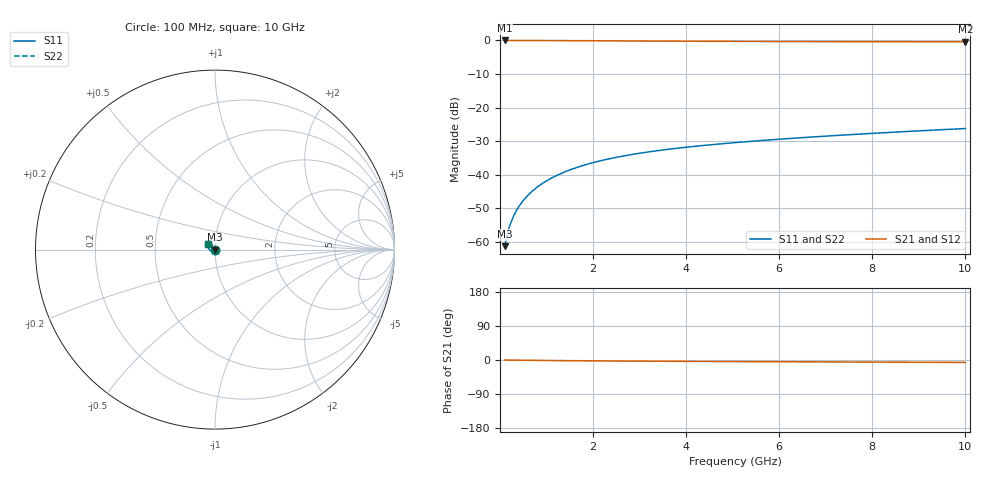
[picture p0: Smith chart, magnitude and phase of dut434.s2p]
! Touchstone file exported from HFSS 2024.1.0
!  File:  C:/UserFiles/LocalFiles/RDL_TSV_Batchsim/temp_TSV1_434_1779694571.aedt
!  Generated:  03:43:27 PM May 25, 2026
!  Design:  TSV1
!  Project:  temp_TSV1_434_1779694571
!  Setup:  Setup1
!  Solution:  Sweep
! Variables:
!  dtsv = 6.81um
!  hbump = 3um
!  htsv = 95.97um
!  lrdl = 252.1521522um
!  p = 40
!  p1 = 56.95um
!  t = 500um
!  trdl = 3um
!  wrdl = 24.89489489um
# GHz S MA R 50.000000
! Terminal data exported
! Port[1] = TSV22_T1
! Port[2] = TSV22_T2
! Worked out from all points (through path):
!   100 points, 100 MHz to 10 GHz, reference 50 ohm
!   highest |S21| = 0.00 dB at 100 MHz (marker M1); lowest = -0.4 dB at 10 GHz (marker M2)
!   lowest |S11| = -61.3 dB at 100 MHz (marker M3), VSWR 1.00, Z = 50 - j0.0833 ohm
!   |S11| at or under -10 dB: start of sweep to end of sweep
!   |S22| runs from -61.3 to -26.3 dB; largest |S21 - S12| = 1.1e-14
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0.1  0.0008579 -76.0  0.9995 -0.1  0.9995 -0.1  0.0008579 -76.0
! Gamma 0 0 0 0
! Port Impedance 50 0 50 0
0.2  0.001668 -86.3  0.9994 -0.3  0.9994 -0.3  0.001668 -86.3
0.3  0.002485 -91.4  0.9992 -0.4  0.9992 -0.4  0.002485 -91.4
0.4  0.003301 -95.1  0.999 -0.5  0.999 -0.5  0.003301 -95.1
0.5  0.004112 -98.2  0.9987 -0.6  0.9987 -0.6  0.004113 -98.2
0.6  0.004918 -101.1  0.9983 -0.8  0.9983 -0.8  0.004918 -101.1
0.7  0.005717 -103.7  0.9979 -0.9  0.9979 -0.9  0.005717 -103.7
0.8  0.006507 -106.3  0.9974 -1.0  0.9974 -1.0  0.006507 -106.3
0.9  0.007287 -108.8  0.9969 -1.1  0.9969 -1.1  0.007287 -108.8
1.1  0.008817 -113.5  0.9957 -1.4  0.9957 -1.4  0.008817 -113.5
1.4  0.01102 -120.3  0.9936 -1.7  0.9936 -1.7  0.01102 -120.3
1.6  0.01243 -124.6  0.9921 -1.9  0.9921 -1.9  0.01243 -124.6
1.8  0.01378 -128.7  0.9905 -2.1  0.9905 -2.1  0.01378 -128.7
2.1  0.0157 -134.7  0.9881 -2.3  0.9881 -2.3  0.0157 -134.7
2.5  0.01809 -142.2  0.9847 -2.7  0.9847 -2.7  0.01809 -142.2
2.9  0.02029 -149.1  0.9815 -3.0  0.9815 -3.0  0.02029 -149.1
3.4  0.02281 -157.0  0.9778 -3.3  0.9778 -3.3  0.02282 -157.0
4.2  0.02646 -168.3  0.9725 -3.7  0.9725 -3.7  0.02646 -168.3
5.1  0.03019 -179.1  0.9677 -4.2  0.9677 -4.2  0.03019 -179.1
6.7  0.03633 165.5  0.9616 -4.9  0.9616 -4.9  0.03633 165.5
8.4  0.04266 153.0  0.9573 -5.7  0.9573 -5.7  0.04266 153.0
10  0.04862 143.7  0.9544 -6.4  0.9544 -6.4  0.04862 143.7
